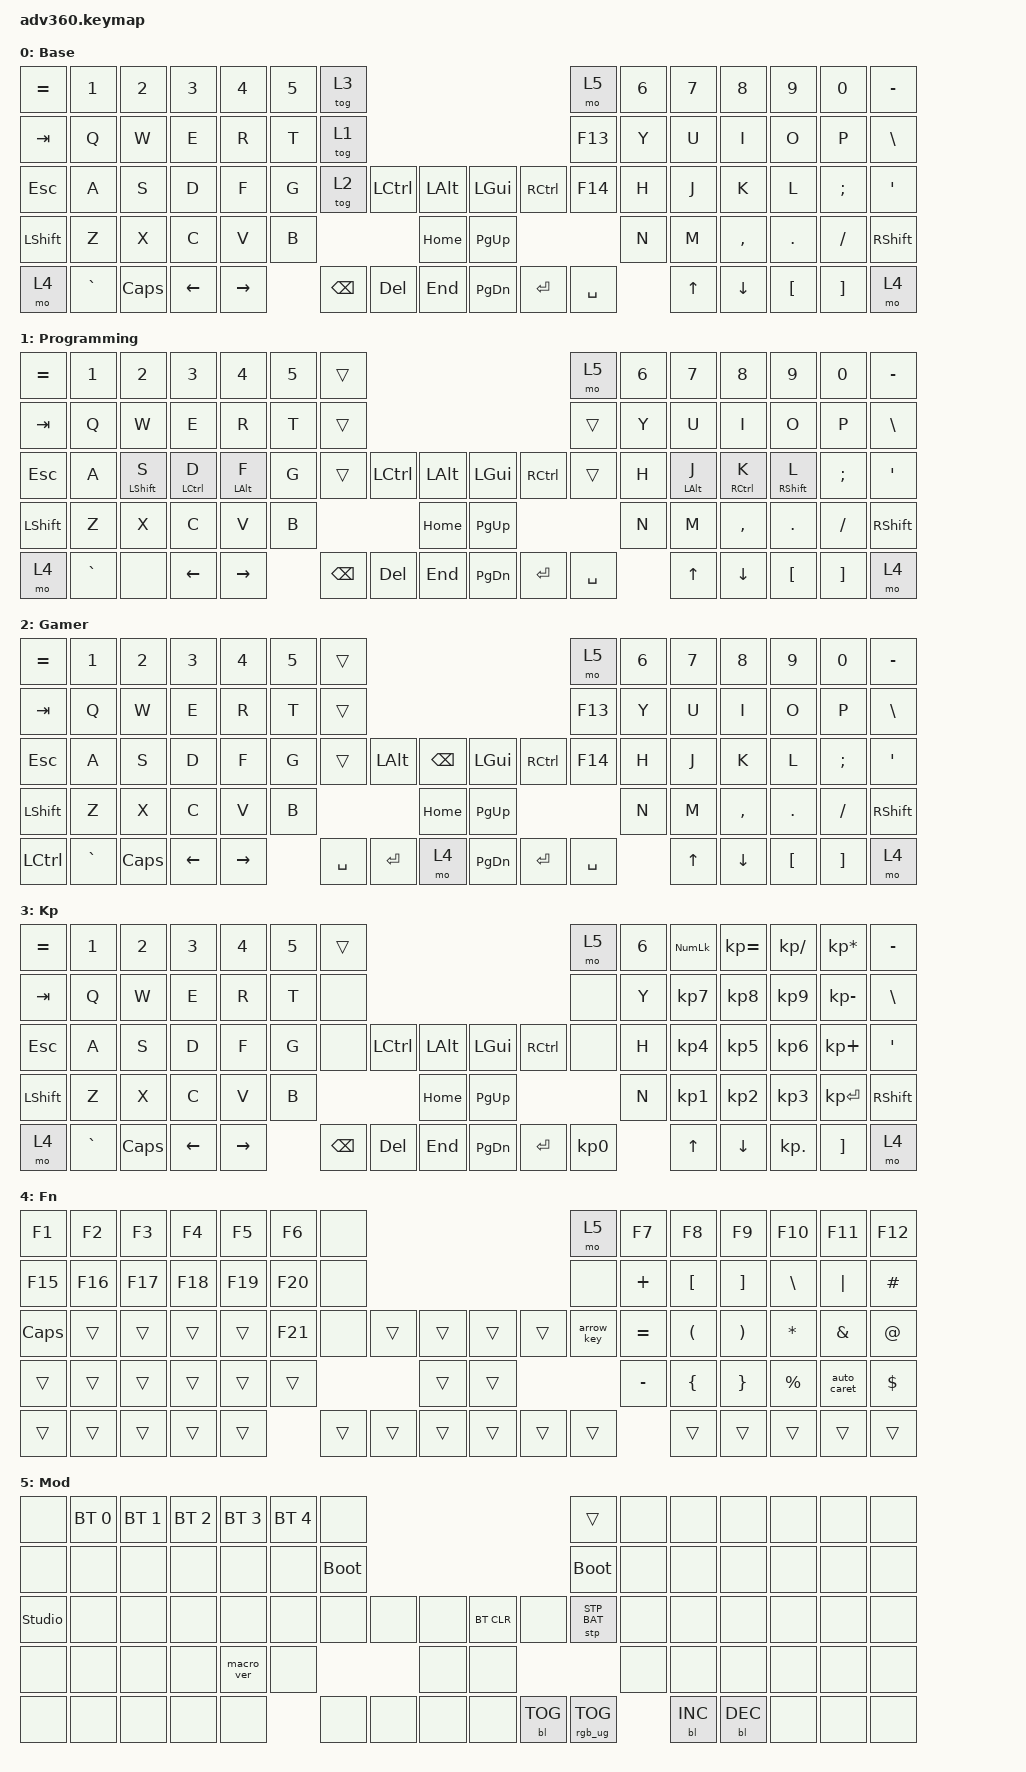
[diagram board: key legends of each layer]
#include <dt-bindings/zmk/stp.h>
#include <behaviors.dtsi>
#include <dt-bindings/zmk/backlight.h>
#include <dt-bindings/zmk/bt.h>
#include <dt-bindings/zmk/keys.h>
#include <dt-bindings/zmk/rgb.h>

/ {
    behaviors {
        #include "macros.dtsi"
      #include "version.dtsi"

        hm: homerow_mods {
            compatible = "zmk,behavior-hold-tap";
            label = "HOMEROW_MODS";
            #binding-cells = <2>;
            tapping-term-ms = <200>;
            quick_tap_ms = <175>;
            flavor = "tap-preferred";
            bindings = <&kp>, <&kp>;
        };

        hml: hml {
            compatible = "zmk,behavior-hold-tap";
            label = "HML";
            #binding-cells = <2>;
            tapping-term-ms = <280>;
            quick_tap_ms = <175>;
            flavor = "balanced";
            bindings = <&kp>, <&kp>;

            quick-tap-ms = <175>;
            hold-trigger-on-release;
            hold-trigger-key-positions = <7 8 9 10 11 12 13 21 22 23 24 25 26 27 37 38 39 40 41 42 43 44 45 53 54 55 56 57 58 59 68 69 70 71 72 73 74 75>;
            require-prior-idle-ms = <90>;
        };

        hmr: hmr {
            compatible = "zmk,behavior-hold-tap";
            label = "HMR";
            #binding-cells = <2>;
            tapping-term-ms = <280>;
            quick_tap_ms = <175>;
            flavor = "balanced";
            bindings = <&kp>, <&kp>;

            quick-tap-ms = <175>;
            hold-trigger-on-release;
            require-prior-idle-ms = <90>;
            hold-trigger-key-positions = <0 1 2 3 4 5 6 14 15 16 17 18 19 20 28 29 30 31 32 33 34 35 36 46 47 48 49 50 51 52 60 61 62 63 64 65 66 67>;
        };

        hm_layer: hm_layer {
            compatible = "zmk,behavior-hold-tap";
            label = "HM_LAYER";
            #binding-cells = <2>;
            tapping-term-ms = <280>;
            quick_tap_ms = <175>;
            flavor = "balanced";
            quick-tap-ms = <175>;
            hold-trigger-on-release;
            hold-trigger-key-positions = <7 8 9 10 11 12 13 21 22 23 24 25 26 27 37 38 39 40 41 42 43 44 45 53 54 55 56 57 58 59 68 69 70 71 72 73 74 75>;
            require-prior-idle-ms = <90>;
            bindings = <&mo>, <&kp>;
        };
    };

    macros {
        arrow_key: arrow_key {
            compatible = "zmk,behavior-macro";
            #binding-cells = <0>;
            bindings = <&kp MINUS &kp GREATER_THAN>;
            label = "ARROW_KEY";
        };

        auto_caret: auto_caret {
            compatible = "zmk,behavior-macro";
            #binding-cells = <0>;
            bindings = <&kp CARET &kp CARET>;
            label = "AUTO_CARET";
        };
    };

    combos { compatible = "zmk,combos"; };

    keymap {
        compatible = "zmk,keymap";

        default_layer {
            display-name = "Base";
            bindings = <
&kp EQUAL  &kp N1     &kp N2    &kp N3    &kp N4     &kp N5  &tog 3                                                   &mo 5      &kp N6  &kp N7  &kp N8     &kp N9    &kp N0    &kp MINUS
&kp TAB    &kp Q      &kp W     &kp E     &kp R      &kp T   &tog 1                                                   &kp F13    &kp Y   &kp U   &kp I      &kp O     &kp P     &kp BSLH
&kp ESC    &kp A      &kp S     &kp D     &kp F      &kp G   &tog 2    &kp LCTRL  &kp LALT      &kp LGUI   &kp RCTRL  &kp F14    &kp H   &kp J   &kp K      &kp L     &kp SEMI  &kp SQT
&kp LSHFT  &kp Z      &kp X     &kp C     &kp V      &kp B                        &kp HOME      &kp PG_UP                        &kp N   &kp M   &kp COMMA  &kp DOT   &kp FSLH  &kp RSHFT
&mo 4      &kp GRAVE  &kp CAPS  &kp LEFT  &kp RIGHT          &kp BSPC  &kp DEL    &kp END       &kp PG_DN  &kp ENTER  &kp SPACE          &kp UP  &kp DOWN   &kp LBKT  &kp RBKT  &mo 4
            >;
        };

        programming {
            display-name = "Programming";
            bindings = <
&kp EQUAL  &kp N1     &kp N2             &kp N3               &kp N4           &kp N5  &trans                                                   &mo 5      &kp N6  &kp N7           &kp N8                &kp N9              &kp N0    &kp MINUS
&kp TAB    &kp Q      &kp W              &kp E                &kp R            &kp T   &trans                                                   &trans     &kp Y   &kp U            &kp I                 &kp O               &kp P     &kp BSLH
&kp ESC    &kp A      &hml LEFT_SHIFT S  &hml LEFT_CONTROL D  &hml LEFT_ALT F  &kp G   &trans    &kp LCTRL  &kp LALT      &kp LGUI   &kp RCTRL  &trans     &kp H   &hmr LEFT_ALT J  &hmr RIGHT_CONTROL K  &hmr RIGHT_SHIFT L  &kp SEMI  &kp SQT
&kp LSHFT  &kp Z      &kp X              &kp C                &kp V            &kp B                        &kp HOME      &kp PG_UP                        &kp N   &kp M            &kp COMMA             &kp DOT             &kp FSLH  &kp RSHFT
&mo 4      &kp GRAVE  &none              &kp LEFT             &kp RIGHT                &kp BSPC  &kp DEL    &kp END       &kp PG_DN  &kp ENTER  &kp SPACE          &kp UP           &kp DOWN              &kp LBKT            &kp RBKT  &mo 4
            >;
        };

        gamer {
            display-name = "Gamer";
            bindings = <
&kp EQUAL  &kp N1     &kp N2    &kp N3    &kp N4     &kp N5  &trans                                                            &mo 5      &kp N6  &kp N7  &kp N8     &kp N9    &kp N0    &kp MINUS
&kp TAB    &kp Q      &kp W     &kp E     &kp R      &kp T   &trans                                                            &kp F13    &kp Y   &kp U   &kp I      &kp O     &kp P     &kp BSLH
&kp ESC    &kp A      &kp S     &kp D     &kp F      &kp G   &trans     &kp LEFT_ALT  &kp BACKSPACE      &kp LGUI   &kp RCTRL  &kp F14    &kp H   &kp J   &kp K      &kp L     &kp SEMI  &kp SQT
&kp LSHFT  &kp Z      &kp X     &kp C     &kp V      &kp B                            &kp HOME           &kp PG_UP                        &kp N   &kp M   &kp COMMA  &kp DOT   &kp FSLH  &kp RSHFT
&kp LCTRL  &kp GRAVE  &kp CAPS  &kp LEFT  &kp RIGHT          &kp SPACE  &kp ENTER     &mo 4              &kp PG_DN  &kp ENTER  &kp SPACE          &kp UP  &kp DOWN   &kp LBKT  &kp RBKT  &mo 4
            >;
        };

        keypad {
            display-name = "Kp";
            bindings = <
&kp EQUAL  &kp N1     &kp N2    &kp N3    &kp N4     &kp N5  &trans                                                   &mo 5      &kp N6  &kp KP_NUM  &kp KP_EQUAL  &kp KP_DIVIDE  &kp KP_MULTIPLY  &kp MINUS
&kp TAB    &kp Q      &kp W     &kp E     &kp R      &kp T   &none                                                    &none      &kp Y   &kp KP_N7   &kp KP_N8     &kp KP_N9      &kp KP_MINUS     &kp BSLH
&kp ESC    &kp A      &kp S     &kp D     &kp F      &kp G   &none     &kp LCTRL  &kp LALT      &kp LGUI   &kp RCTRL  &none      &kp H   &kp KP_N4   &kp KP_N5     &kp KP_N6      &kp KP_PLUS      &kp SQT
&kp LSHFT  &kp Z      &kp X     &kp C     &kp V      &kp B                        &kp HOME      &kp PG_UP                        &kp N   &kp KP_N1   &kp KP_N2     &kp KP_N3      &kp KP_ENTER     &kp RSHFT
&mo 4      &kp GRAVE  &kp CAPS  &kp LEFT  &kp RIGHT          &kp BSPC  &kp DEL    &kp END       &kp PG_DN  &kp ENTER  &kp KP_N0          &kp UP      &kp DOWN      &kp KP_DOT     &kp RBKT         &mo 4
            >;
        };

        fn {
            display-name = "Fn";
            bindings = <
&kp F1        &kp F2   &kp F3   &kp F4   &kp F5   &kp F6   &none                                       &mo 5       &kp F7     &kp F8                &kp F9                 &kp F10       &kp F11      &kp F12
&kp F15       &kp F16  &kp F17  &kp F18  &kp F19  &kp F20  &none                                       &none       &kp PLUS   &kp LEFT_BRACKET      &kp RIGHT_BRACKET      &kp BSLH      &kp PIPE     &kp HASH
&kp CAPSLOCK  &trans   &trans   &trans   &trans   &kp F21  &none   &trans  &trans      &trans  &trans  &arrow_key  &kp EQUAL  &kp LEFT_PARENTHESIS  &kp RIGHT_PARENTHESIS  &kp ASTERISK  &kp AMPS     &kp AT_SIGN
&trans        &trans   &trans   &trans   &trans   &trans                   &trans      &trans                      &kp MINUS  &kp LEFT_BRACE        &kp RIGHT_BRACE        &kp PERCENT   &auto_caret  &kp DOLLAR
&trans        &trans   &trans   &trans   &trans            &trans  &trans  &trans      &trans  &trans  &trans                 &trans                &trans                 &trans        &trans       &trans
            >;
        };

        mod {
            display-name = "Mod";
            bindings = <
&none           &bt BT_SEL 0  &bt BT_SEL 1  &bt BT_SEL 2  &bt BT_SEL 3  &bt BT_SEL 4  &none                                                  &trans           &none  &none       &none       &none  &none  &none
&none           &none         &none         &none         &none         &none         &bootloader                                            &bootloader      &none  &none       &none       &none  &none  &none
&studio_unlock  &none         &none         &none         &none         &none         &none        &none  &none      &bt BT_CLR  &none       &stp STP_BAT     &none  &none       &none       &none  &none  &none
&none           &none         &none         &none         &macro_ver    &none                             &none      &none                                    &none  &none       &none       &none  &none  &none
&none           &none         &none         &none         &none                       &none        &none  &none      &none       &bl BL_TOG  &rgb_ug RGB_TOG         &bl BL_INC  &bl BL_DEC  &none  &none  &none
            >;
        };

        extra2 {
            display-name = "Purple";
            status = "reserved";
        };

        extra3 {
            display-name = "Cyan";
            status = "reserved";
        };

        extra4 {
            display-name = "Yellow";
            status = "reserved";
        };
    };
};
